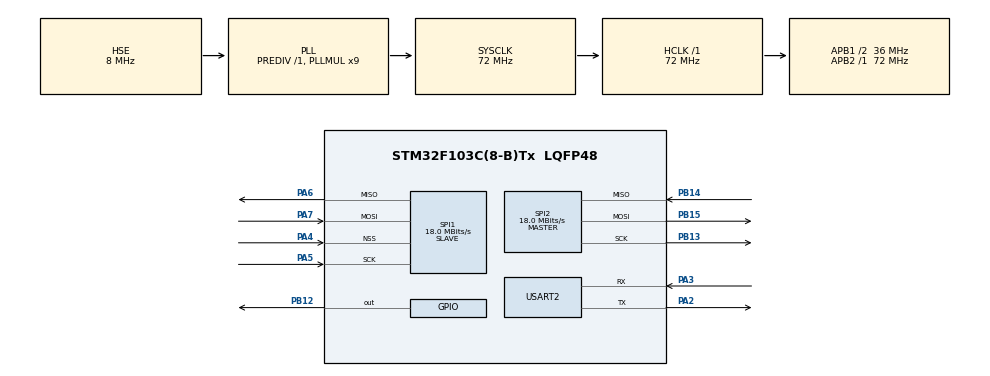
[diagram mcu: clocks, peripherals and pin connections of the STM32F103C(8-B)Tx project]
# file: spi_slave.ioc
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Dma.Request0=SPI1_RX
Dma.SPI1_RX.0.Direction=DMA_PERIPH_TO_MEMORY
Dma.SPI1_RX.0.Instance=DMA1_Channel2
Dma.SPI1_RX.0.MemDataAlignment=DMA_MDATAALIGN_BYTE
Dma.SPI1_RX.0.MemInc=DMA_MINC_ENABLE
Dma.SPI1_RX.0.Mode=DMA_CIRCULAR
Dma.SPI1_RX.0.PeriphDataAlignment=DMA_PDATAALIGN_BYTE
Dma.SPI1_RX.0.PeriphInc=DMA_PINC_DISABLE
Dma.SPI1_RX.0.Priority=DMA_PRIORITY_LOW
Mcu.Family=STM32F1
Mcu.Name=STM32F103C(8-B)Tx
Mcu.Package=LQFP48
NVIC.DMA1_Channel2_IRQn=true\:0\:0\:false\:false\:true\:false\:true
NVIC.PriorityGroup=NVIC_PRIORITYGROUP_4
NVIC.SPI1_IRQn=true\:0\:0\:false\:false\:true\:true\:true
NVIC.SPI2_IRQn=true\:0\:0\:false\:false\:true\:true\:true
NVIC.USART2_IRQn=true\:0\:0\:false\:false\:true\:true\:true
PA13.Mode=Serial_Wire
PA13.Signal=SYS_JTMS-SWDIO
PA14.Mode=Serial_Wire
PA14.Signal=SYS_JTCK-SWCLK
PA2.Mode=Asynchronous
PA2.Signal=USART2_TX
PA3.Mode=Asynchronous
PA3.Signal=USART2_RX
PA4.Mode=NSS_Signal_Hard_Input
PA4.Signal=SPI1_NSS
PA5.Mode=Full_Duplex_Slave
PA5.Signal=SPI1_SCK
PA6.Mode=Full_Duplex_Slave
PA6.Signal=SPI1_MISO
PA7.Mode=Full_Duplex_Slave
PA7.Signal=SPI1_MOSI
PB12.Signal=GPIO_Output
PB13.Mode=Full_Duplex_Master
PB13.Signal=SPI2_SCK
PB14.Mode=Full_Duplex_Master
PB14.Signal=SPI2_MISO
PB15.Mode=Full_Duplex_Master
PB15.Signal=SPI2_MOSI
PD0-OSC_IN.Mode=HSE-External-Oscillator
PD0-OSC_IN.Signal=RCC_OSC_IN
PD1-OSC_OUT.Mode=HSE-External-Oscillator
PD1-OSC_OUT.Signal=RCC_OSC_OUT
ProjectManager.HeapSize=0x200
ProjectManager.StackSize=0x400
ProjectManager.TargetToolchain=MDK-ARM V5
RCC.AHBFreq_Value=72000000
RCC.APB1CLKDivider=RCC_HCLK_DIV2
RCC.APB1Freq_Value=36000000
RCC.APB1TimCLKDivider=2
RCC.APB1TimFreq_Value=72000000
RCC.APB2Freq_Value=72000000
RCC.APB2TimFreq_Value=72000000
RCC.HCLKFreq_Value=72000000
RCC.PLLMUL=RCC_PLL_MUL9
RCC.PLLSourceVirtual=RCC_PLLSOURCE_HSE
RCC.SYSCLKFreq_VALUE=72000000
RCC.SYSCLKSource=RCC_SYSCLKSOURCE_PLLCLK
RCC.USBFreq_Value=72000000
SPI1.BaudRatePrescaler=SPI_BAUDRATEPRESCALER_4
SPI1.CLKPolarity=SPI_POLARITY_LOW
SPI1.CalculateBaudRate=18.0 MBits/s
SPI1.Direction=SPI_DIRECTION_2LINES
SPI1.Mode=SPI_MODE_SLAVE
SPI1.VirtualNSS=VM_NSSHARD
SPI1.VirtualType=VM_SLAVE
SPI2.BaudRatePrescaler=SPI_BAUDRATEPRESCALER_2
SPI2.CalculateBaudRate=18.0 MBits/s
SPI2.Direction=SPI_DIRECTION_2LINES
SPI2.FirstBit=SPI_FIRSTBIT_MSB
SPI2.Mode=SPI_MODE_MASTER
SPI2.VirtualType=VM_MASTER
USART2.VirtualMode=VM_ASYNC
board=custom

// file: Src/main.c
/* USER CODE BEGIN Header */
/**
  ******************************************************************************
  * @file           : main.c
  * @brief          : Main program body
  ******************************************************************************
  * @attention
  *
  * <h2><center>&copy; Copyright (c) 2021 STMicroelectronics.
  * All rights reserved.</center></h2>
  *
  * This software component is licensed by ST under BSD 3-Clause license,
  * the "License"; You may not use this file except in compliance with the
  * License. You may obtain a copy of the License at:
  *                        opensource.org/licenses/BSD-3-Clause
  *
  ******************************************************************************
  */
/* USER CODE END Header */

#include "main.h"

/* USER CODE BEGIN PD */
#define spi_enable HAL_GPIO_WritePin(GPIOB,GPIO_PIN_12,GPIO_PIN_RESET);
#define spi_disable HAL_GPIO_WritePin(GPIOB,GPIO_PIN_12,GPIO_PIN_SET);
/* USER CODE END PD */

SPI_HandleTypeDef hspi1;
SPI_HandleTypeDef hspi2;
DMA_HandleTypeDef hdma_spi1_rx;

UART_HandleTypeDef huart2;

void SystemClock_Config(void);
static void MX_GPIO_Init(void);
static void MX_DMA_Init(void);
static void MX_SPI1_Init(void);
static void MX_SPI2_Init(void);
static void MX_USART2_UART_Init(void);
/* USER CODE BEGIN PFP */
uint8_t receive,read=0,send_data=32;
/* USER CODE END PFP */

int main(void)
{

  /* MCU Configuration--------------------------------------------------------*/

  /* Reset of all peripherals, Initializes the Flash interface and the Systick. */
  HAL_Init();

  /* Configure the system clock */
  SystemClock_Config();

  /* Initialize all configured peripherals */
  MX_GPIO_Init();
  MX_DMA_Init();
  MX_SPI1_Init();
  MX_SPI2_Init();
  MX_USART2_UART_Init();
  /* USER CODE BEGIN 2 */
	HAL_SPI_Receive_IT(&hspi1,&receive,1);
	HAL_UART_Receive_IT(&huart2,&send_data,1);
  /* USER CODE END 2 */

  /* Infinite loop */
  while (1)
  {

    /* USER CODE BEGIN 3 */
		HAL_UART_Transmit_IT(&huart2,&receive,1);
		spi_enable;
		HAL_SPI_Transmit_DMA(&hspi2,&send_data,1);

		HAL_Delay(1000);
//		send_data++;
//		spi_disable;
  }
  /* USER CODE END 3 */
}

void SystemClock_Config(void)
{
  RCC_OscInitTypeDef RCC_OscInitStruct = {0};
  RCC_ClkInitTypeDef RCC_ClkInitStruct = {0};

  /** Initializes the CPU, AHB and APB busses clocks
  */
  RCC_OscInitStruct.OscillatorType = RCC_OSCILLATORTYPE_HSE;
  RCC_OscInitStruct.HSEState = RCC_HSE_ON;
  RCC_OscInitStruct.HSEPredivValue = RCC_HSE_PREDIV_DIV1;
  RCC_OscInitStruct.HSIState = RCC_HSI_ON;
  RCC_OscInitStruct.PLL.PLLState = RCC_PLL_ON;
  RCC_OscInitStruct.PLL.PLLSource = RCC_PLLSOURCE_HSE;
  RCC_OscInitStruct.PLL.PLLMUL = RCC_PLL_MUL9;
  if (HAL_RCC_OscConfig(&RCC_OscInitStruct) != HAL_OK)
  {
    Error_Handler();
  }
  /** Initializes the CPU, AHB and APB busses clocks
  */
  RCC_ClkInitStruct.ClockType = RCC_CLOCKTYPE_HCLK|RCC_CLOCKTYPE_SYSCLK
                              |RCC_CLOCKTYPE_PCLK1|RCC_CLOCKTYPE_PCLK2;
  RCC_ClkInitStruct.SYSCLKSource = RCC_SYSCLKSOURCE_PLLCLK;
  RCC_ClkInitStruct.AHBCLKDivider = RCC_SYSCLK_DIV1;
  RCC_ClkInitStruct.APB1CLKDivider = RCC_HCLK_DIV2;
  RCC_ClkInitStruct.APB2CLKDivider = RCC_HCLK_DIV1;

  if (HAL_RCC_ClockConfig(&RCC_ClkInitStruct, FLASH_LATENCY_2) != HAL_OK)
  {
    Error_Handler();
  }
}

static void MX_SPI1_Init(void)
{

  /* SPI1 parameter configuration*/
  hspi1.Instance = SPI1;
  hspi1.Init.Mode = SPI_MODE_SLAVE;
  hspi1.Init.Direction = SPI_DIRECTION_2LINES;
  hspi1.Init.DataSize = SPI_DATASIZE_8BIT;
  hspi1.Init.CLKPolarity = SPI_POLARITY_LOW;
  hspi1.Init.CLKPhase = SPI_PHASE_1EDGE;
  hspi1.Init.NSS = SPI_NSS_HARD_INPUT;
  hspi1.Init.BaudRatePrescaler = SPI_BAUDRATEPRESCALER_4;
  hspi1.Init.FirstBit = SPI_FIRSTBIT_MSB;
  hspi1.Init.TIMode = SPI_TIMODE_DISABLE;
  hspi1.Init.CRCCalculation = SPI_CRCCALCULATION_DISABLE;
  hspi1.Init.CRCPolynomial = 10;
  if (HAL_SPI_Init(&hspi1) != HAL_OK)
  {
    Error_Handler();
  }

}

static void MX_SPI2_Init(void)
{

  /* SPI2 parameter configuration*/
  hspi2.Instance = SPI2;
  hspi2.Init.Mode = SPI_MODE_MASTER;
  hspi2.Init.Direction = SPI_DIRECTION_2LINES;
  hspi2.Init.DataSize = SPI_DATASIZE_8BIT;
  hspi2.Init.CLKPolarity = SPI_POLARITY_LOW;
  hspi2.Init.CLKPhase = SPI_PHASE_1EDGE;
  hspi2.Init.NSS = SPI_NSS_SOFT;
  hspi2.Init.BaudRatePrescaler = SPI_BAUDRATEPRESCALER_2;
  hspi2.Init.FirstBit = SPI_FIRSTBIT_MSB;
  hspi2.Init.TIMode = SPI_TIMODE_DISABLE;
  hspi2.Init.CRCCalculation = SPI_CRCCALCULATION_DISABLE;
  hspi2.Init.CRCPolynomial = 10;
  if (HAL_SPI_Init(&hspi2) != HAL_OK)
  {
    Error_Handler();
  }

}

static void MX_USART2_UART_Init(void)
{

  huart2.Instance = USART2;
  huart2.Init.BaudRate = 115200;
  huart2.Init.WordLength = UART_WORDLENGTH_8B;
  huart2.Init.StopBits = UART_STOPBITS_1;
  huart2.Init.Parity = UART_PARITY_NONE;
  huart2.Init.Mode = UART_MODE_TX_RX;
  huart2.Init.HwFlowCtl = UART_HWCONTROL_NONE;
  huart2.Init.OverSampling = UART_OVERSAMPLING_16;
  if (HAL_UART_Init(&huart2) != HAL_OK)
  {
    Error_Handler();
  }

}

static void MX_DMA_Init(void)
{

  /* DMA controller clock enable */
  __HAL_RCC_DMA1_CLK_ENABLE();

  /* DMA interrupt init */
  /* DMA1_Channel2_IRQn interrupt configuration */
  HAL_NVIC_SetPriority(DMA1_Channel2_IRQn, 0, 0);
  HAL_NVIC_EnableIRQ(DMA1_Channel2_IRQn);

}

static void MX_GPIO_Init(void)
{
  GPIO_InitTypeDef GPIO_InitStruct = {0};

  /* GPIO Ports Clock Enable */
  __HAL_RCC_GPIOD_CLK_ENABLE();
  __HAL_RCC_GPIOA_CLK_ENABLE();
  __HAL_RCC_GPIOB_CLK_ENABLE();

  /*Configure GPIO pin Output Level */
  HAL_GPIO_WritePin(GPIOB, GPIO_PIN_12, GPIO_PIN_RESET);

  /*Configure GPIO pin : PB12 */
  GPIO_InitStruct.Pin = GPIO_PIN_12;
  GPIO_InitStruct.Mode = GPIO_MODE_OUTPUT_PP;
  GPIO_InitStruct.Pull = GPIO_NOPULL;
  GPIO_InitStruct.Speed = GPIO_SPEED_FREQ_LOW;
  HAL_GPIO_Init(GPIOB, &GPIO_InitStruct);

}

/* USER CODE BEGIN 4 */
void HAL_SPI_TxCpltCallback(SPI_HandleTypeDef *hspi)
{
	if(hspi->Instance==hspi2.Instance)
	{
		spi_disable;
	}
}
void HAL_SPI_RxCpltCallback(SPI_HandleTypeDef *hspi)
{
	if(hspi->Instance==hspi1.Instance)
	{
		read=receive;
//		HAL_Delay(100);
//		receive[0]=0;
	}
}

/* USER CODE END 4 */

void Error_Handler(void)
{
}

/************************ (C) COPYRIGHT STMicroelectronics *****END OF FILE****/
